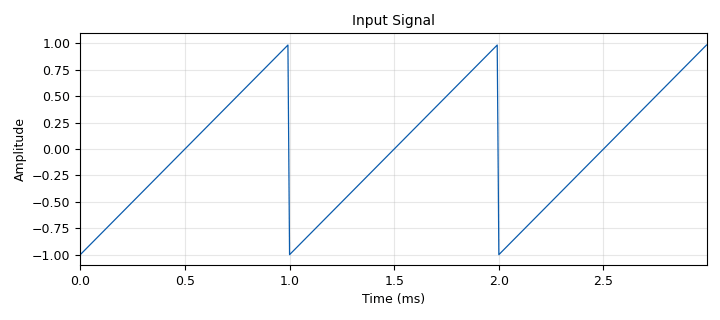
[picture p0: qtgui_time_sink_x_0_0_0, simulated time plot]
options:
  parameters:
    generate_options: qt_gui
    id: Test_Ley_A
    output_language: python
    title: ' '
  states: {}

blocks:
- name: Constante
  id: variable_qtgui_range
  parameters:
    gui_hint: 8,0,1,1
    label: Constante de Compresión
    orient: Qt.Horizontal
    start: '1'
    step: '1'
    stop: '100'
    value: '87.6'
  states: {}
- name: samp_rate
  id: variable
  parameters:
    value: '128000'
  states: {}
- name: analog_sig_source_x_0
  id: analog_sig_source_x
  parameters:
    amp: '2'
    freq: '1000'
    offset: '-1'
    phase: '0'
    samp_rate: samp_rate
    type: float
    waveform: analog.GR_SAW_WAVE
  states: {}
- name: blocks_multiply_const_vxx_0
  id: blocks_multiply_const_vxx
  parameters:
    const: '1'
    type: float
  states: {}
- name: blocks_null_sink_0
  id: blocks_null_sink
  parameters:
    type: float
  states: {}
- name: blocks_null_sink_0_0
  id: blocks_null_sink
  parameters:
    type: float
  states: {}
- name: blocks_throttle_0
  id: blocks_throttle
  parameters:
    samples_per_second: samp_rate
    type: float
  states: {}
- name: pdb_gr_pdb_0
  id: pdb_gr_pdb
  parameters:
    companding_key: alaw
    constant_a: Constante
    constant_u: Constante
    nbits: '8'
  states: {}
- name: qtgui_time_sink_x_0_0_0
  id: qtgui_time_sink_x
  parameters:
    grid: 'True'
    gui_hint: 0,0,4,1
    legend: 'False'
    name: Input Signal
    size: '384'
    srate: samp_rate
    type: float
    width1: '2'
    ymax: '1.1'
    ymin: '-1.1'
  states: {}
- name: qtgui_time_sink_x_0_0_0_0
  id: qtgui_time_sink_x
  parameters:
    entags: 'False'
    grid: 'True'
    gui_hint: 4,0,4,1
    legend: 'False'
    name: '"Compressed Output"'
    size: '384'
    srate: samp_rate
    type: float
    width1: '2'
    ymax: '1.1'
    ymin: '-1.1'
  states: {}

connections:
- [analog_sig_source_x_0, '0', blocks_throttle_0, '0']
- [blocks_multiply_const_vxx_0, '0', pdb_gr_pdb_0, '0']
- [blocks_multiply_const_vxx_0, '0', qtgui_time_sink_x_0_0_0, '0']
- [blocks_throttle_0, '0', blocks_multiply_const_vxx_0, '0']
- [pdb_gr_pdb_0, '0', blocks_null_sink_0_0, '0']
- [pdb_gr_pdb_0, '1', blocks_null_sink_0, '0']
- [pdb_gr_pdb_0, '2', qtgui_time_sink_x_0_0_0_0, '0']

metadata:
  file_format: 1
